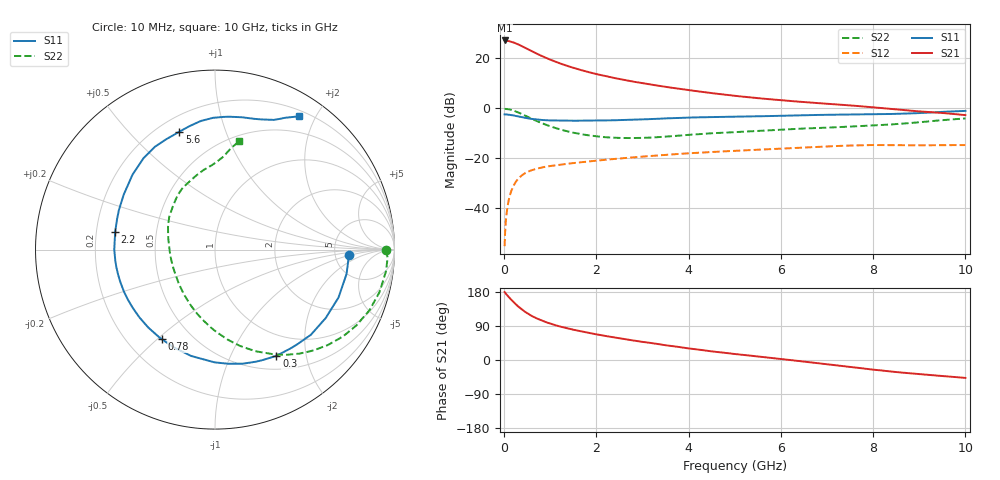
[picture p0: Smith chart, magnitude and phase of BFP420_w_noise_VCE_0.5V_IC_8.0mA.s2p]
! Infineon Technologies  Discrete & RF Semiconductors
! BFP420
! VCE =  0.5 V,  IC =  8.0 mA
! Common Emitter S-Parameters:  Jan 2016
# GHz  S  MA  R  50
!  f  S11  S21  S12  S22
! GHz  MAG  ANG  MAG  ANG  MAG  ANG  MAG  ANG
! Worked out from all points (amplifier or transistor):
!   233 points, 10 MHz to 10 GHz, reference 50 ohm
!   highest |S21| = 27.1 dB at 10 MHz (marker M1)
!   |S21| within 3 dB of that: start of sweep to 462.6 MHz
!   unconditionally stable (mu >= 1): 2.449 GHz to end of sweep
!   at 200 MHz: K = 0.12, MSG = 28.8 dB, |S12| = -31.3 dB
!   at 1.74 GHz: K = 0.80, MSG = 18.2 dB, |S12| = -21.6 dB
!   at 10 GHz: K = 1.07, MAG = 4.4 dB, |S12| = -14.8 dB
!   lowest NFmin = 0.79 dB at 900 MHz
!   S11 on the Smith chart (normalised r, x): 10 MHz: 6.75, -0.95; 300 MHz: 0.68, -1.51; 780 MHz: 0.34, -0.52; 2.2 GHz: 0.28, +0.08; 5.6 GHz: 0.28, +0.70; 10 GHz: 0.28, +1.78
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0.01  0.7464 -2.4  22.69 179.2  0.0017 110.9  0.9541 -0.2
0.02  0.7453 -4.5  22.24 177.6  0.0031 89.4  0.9627 -2.8
0.1  0.7381 -21.2  22.09 166.3  0.0144 79.6  0.9471 -14.4
0.15  0.7252 -31.7  21.52 159.5  0.0212 74.5  0.9245 -21.5
0.22  0.7052 -45.3  20.42 150.8  0.0295 68.0  0.8798 -30.6
0.3  0.6835 -60.0  19.05 141.6  0.0378 61.6  0.8228 -40.3
0.4  0.6546 -76.1  17.2 131.8  0.0459 54.9  0.7465 -50.9
0.5  0.6281 -90.3  15.42 123.4  0.0521 49.6  0.6738 -60.2
0.6  0.6073 -102.6  13.84 116.1  0.0569 45.4  0.6094 -68.3
0.78  0.5804 -120.5  11.47 105.9  0.0632 40.1  0.5146 -80.7
0.9  0.5717 -130.5  10.22 100.1  0.0665 37.7  0.4652 -88.1
1.12  0.5609 -145.4  8.451 91.5  0.0714 34.6  0.3961 -100.1
1.38  0.5577 -159.2  6.95 83.2  0.0765 32.2  0.3404 -113.0
1.68  0.5585 -172.2  5.739 75.2  0.0821 30.3  0.2987 -126.5
2.2  0.5648 170.0  4.364 63.3  0.0919 27.7  0.2601 -148.1
2.8  0.5846 153.6  3.389 51.5  0.1027 24.5  0.2507 -171.3
3.4  0.6138 139.9  2.752 40.9  0.1134 20.8  0.2634 169.4
5.1  0.6735 112.9  1.722 14.6  0.1403 9.3  0.3323 135.9
5.6  0.6864 106.8  1.549 8.0  0.1476 6.1  0.3514 129.1
6.8  0.728 93.1  1.258 -8.3  0.1667 -3.3  0.3979 113.3
8.4  0.7614 73.0  0.959 -30.6  0.1804 -19.4  0.4702 92.2
10  0.8766 57.8  0.723 -47.3  0.1813 -30.1  0.6197 77.4
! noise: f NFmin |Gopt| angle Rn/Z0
0.9  0.79  0.08  30  0.13
1.8  1.14  0.06  171  0.12
2.4  1.24  0.1  160  0.13
3  1.32  0.17  -165  0.12
4  1.46  0.32  -132  0.14
5  1.85  0.39  -110  0.25
6  2.3  0.46  -95  0.37
